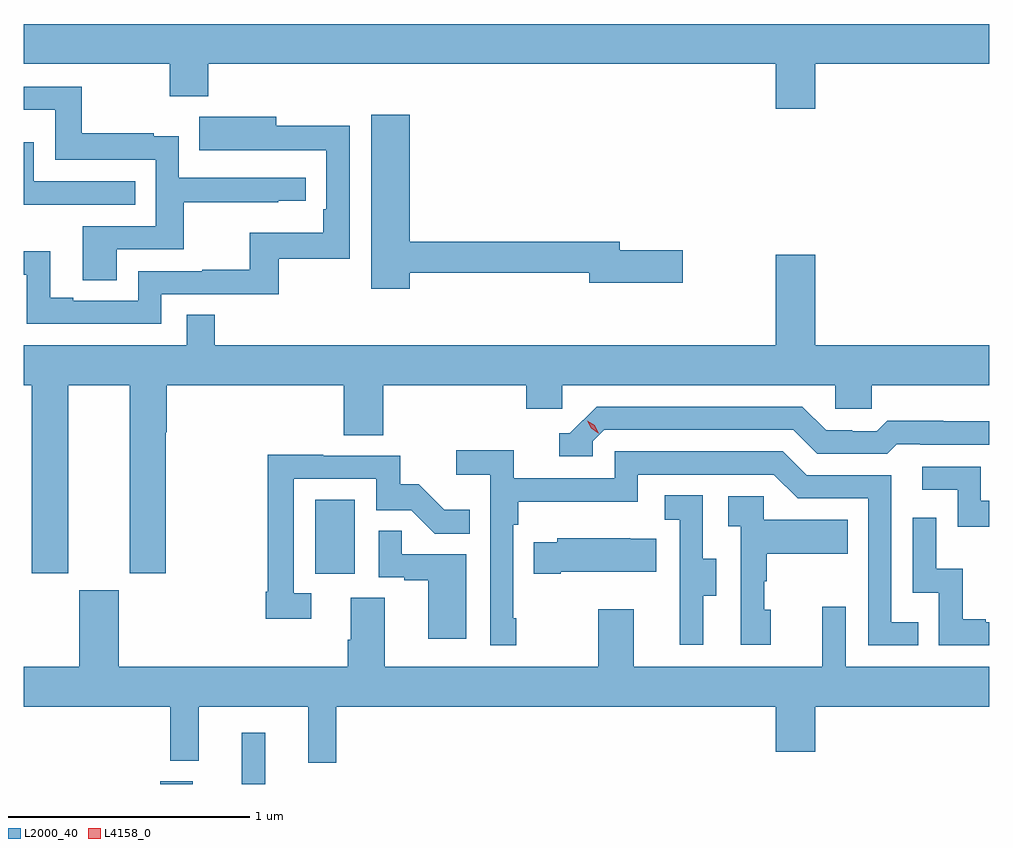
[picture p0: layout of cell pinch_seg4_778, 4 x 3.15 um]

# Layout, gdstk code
import gdstk
lib = gdstk.Library(unit=1e-6, precision=1e-09)
def R(c, l, rs):  # rectangles x0, y0, x1, y1
    for r in rs: c.add(gdstk.rectangle(r[:2], r[2:], *l))
def P(c, l, *ps):  # polygons
    for p in ps: c.add(gdstk.Polygon(p, *l))
L2000_40 = (2000, 40)
L4158_0 = (4158, 0)

pinch_seg4_778 = lib.new_cell('pinch_seg4_778')
R(pinch_seg4_778, L2000_40, [(809.81,819.143,809.944,819.154), (810.147,819.143,810.244,819.355), (810.452,820.014,810.616,820.321)])
P(pinch_seg4_778, L2000_40, [(812.524,822.128),(813.244,822.128),(813.244,822.292),(809.244,822.292),(809.244,822.128),(809.848,822.128),(809.848,821.993),(810.008,821.993),(810.008,822.128),(812.36,822.128),(812.36,821.94),(812.524,821.94)],
  [(809.629,821.358),(809.906,821.358),(809.906,821.554),(810.299,821.554),(810.299,821.559),(810.412,821.559),(810.412,821.655),(809.886,821.655),(809.886,821.827),(809.783,821.827),(809.783,821.839),(809.485,821.839),(809.485,822.033),(809.244,822.033),(809.244,821.936),(809.374,821.936),(809.374,821.73),(809.79,821.73),(809.79,821.454),(809.489,821.454),(809.489,821.23),(809.629,821.23)],
  [(810.844,821.262),(811.586,821.262),(811.586,821.219),(811.975,821.219),(811.975,821.354),(811.714,821.354),(811.714,821.39),(810.844,821.39),(810.844,821.917),(810.683,821.917),(810.683,821.196),(810.844,821.196)],
  [(809.814,821.172),(810.301,821.172),(810.301,821.319),(810.594,821.319),(810.594,821.87),(810.289,821.87),(810.289,821.908),(809.971,821.908),(809.971,821.768),(810.185,821.768),(810.185,821.769),(810.498,821.769),(810.498,821.524),(810.485,821.524),(810.485,821.428),(810.18,821.428),(810.18,821.273),(809.983,821.273),(809.983,821.268),(809.718,821.268),(809.718,821.145),(809.449,821.145),(809.449,821.158),(809.353,821.158),(809.353,821.351),(809.244,821.351),(809.244,821.253),(809.256,821.253),(809.256,821.049),(809.814,821.049)],
  [(809.705,821.64),(809.286,821.64),(809.286,821.803),(809.244,821.803),(809.244,821.544),(809.705,821.544)],
  [(809.428,820.796),(809.684,820.796),(809.684,820.017),(809.832,820.017),(809.832,820.6),(809.837,820.6),(809.837,820.796),(810.569,820.796),(810.569,820.588),(810.734,820.588),(810.734,820.796),(811.325,820.796),(811.325,820.698),(811.476,820.698),(811.476,820.796),(812.607,820.796),(812.607,820.698),(812.757,820.698),(812.757,820.796),(813.244,820.796),(813.244,820.96),(812.524,820.96),(812.524,821.335),(812.36,821.335),(812.36,820.96),(810.035,820.96),(810.035,821.087),(809.919,821.087),(809.919,820.96),(809.244,820.96),(809.244,820.796),(809.276,820.796),(809.276,820.017),(809.428,820.017)],
  [(811.602,820.563),(811.65,820.611),(812.433,820.611),(812.532,820.512),(812.821,820.512),(812.86,820.551),(812.959,820.551),(812.959,820.548),(813.244,820.548),(813.244,820.645),(813.054,820.645),(813.054,820.648),(812.821,820.648),(812.779,820.605),(812.676,820.605),(812.676,820.608),(812.569,820.608),(812.47,820.707),(811.617,820.707),(811.506,820.596),(811.463,820.596),(811.463,820.5),(811.602,820.5)],
  [(811.285,819.829),(811.272,819.829),(811.272,820.217),(811.292,820.217),(811.292,820.313),(811.788,820.313),(811.788,820.425),(812.352,820.425),(812.451,820.326),(812.742,820.326),(812.742,819.717),(812.951,819.717),(812.951,819.813),(812.838,819.813),(812.838,820.422),(812.488,820.422),(812.389,820.521),(811.692,820.521),(811.692,820.41),(811.274,820.41),(811.274,820.526),(811.035,820.526),(811.035,820.424),(811.176,820.424),(811.176,819.717),(811.285,819.717)],
  [(810.436,819.933),(810.363,819.933),(810.363,820.407),(810.705,820.407),(810.705,820.278),(810.849,820.278),(810.947,820.18),(811.091,820.18),(811.091,820.279),(810.987,820.279),(810.88,820.386),(810.804,820.386),(810.804,820.503),(810.485,820.503),(810.485,820.508),(810.255,820.508),(810.255,819.94),(810.247,819.94),(810.247,819.828),(810.436,819.828)],
  [(813.244,820.317),(813.21,820.317),(813.21,820.458),(812.967,820.458),(812.967,820.362),(813.114,820.362),(813.114,820.209),(813.244,820.209)],
  [(812.059,819.922),(812.113,819.922),(812.113,820.077),(812.058,820.077),(812.058,820.34),(811.899,820.34),(811.899,820.237),(811.962,820.237),(811.962,819.933),(811.961,819.933),(811.961,819.72),(812.059,819.72)],
  [(812.338,819.864),(812.313,819.864),(812.313,819.983),(812.323,819.983),(812.323,820.097),(812.657,820.097),(812.657,820.237),(812.31,820.237),(812.31,820.335),(812.163,820.335),(812.163,820.211),(812.214,820.211),(812.214,819.72),(812.338,819.72)],
  [(813.244,819.813),(813.229,819.813),(813.229,819.826),(813.134,819.826),(813.134,820.034),(813.024,820.034),(813.024,820.246),(812.928,820.246),(812.928,819.936),(813.036,819.936),(813.036,819.717),(813.244,819.717)],
  [(811.078,820.095),(810.809,820.095),(810.809,820.193),(810.714,820.193),(810.714,819.999),(810.821,819.999),(810.821,819.987),(810.92,819.987),(810.92,819.744),(811.078,819.744)],
  [(811.468,820.022),(811.865,820.022),(811.865,820.159),(811.757,820.159),(811.757,820.162),(811.455,820.162),(811.455,820.144),(811.357,820.144),(811.357,820.015),(811.468,820.015)],
  [(810.539,819.464),(812.36,819.464),(812.36,819.276),(812.524,819.276),(812.524,819.464),(813.244,819.464),(813.244,819.628),(812.649,819.628),(812.649,819.877),(812.552,819.877),(812.552,819.628),(811.771,819.628),(811.771,819.868),(811.624,819.868),(811.624,819.628),(810.739,819.628),(810.739,819.914),(810.599,819.914),(810.599,819.74),(810.587,819.74),(810.587,819.628),(809.638,819.628),(809.638,819.945),(809.474,819.945),(809.474,819.628),(809.244,819.628),(809.244,819.464),(809.851,819.464),(809.851,819.239),(809.969,819.239),(809.969,819.464),(810.422,819.464),(810.422,819.231),(810.539,819.231)])
P(pinch_seg4_778, L4158_0, [(811.625,820.597),(811.595,820.616),(811.579,820.648),(811.579,820.649),(811.579,820.649),(811.61,820.629),(811.626,820.597),(811.626,820.597)])

lib.write_gds('pinch_seg4_778.gds')
